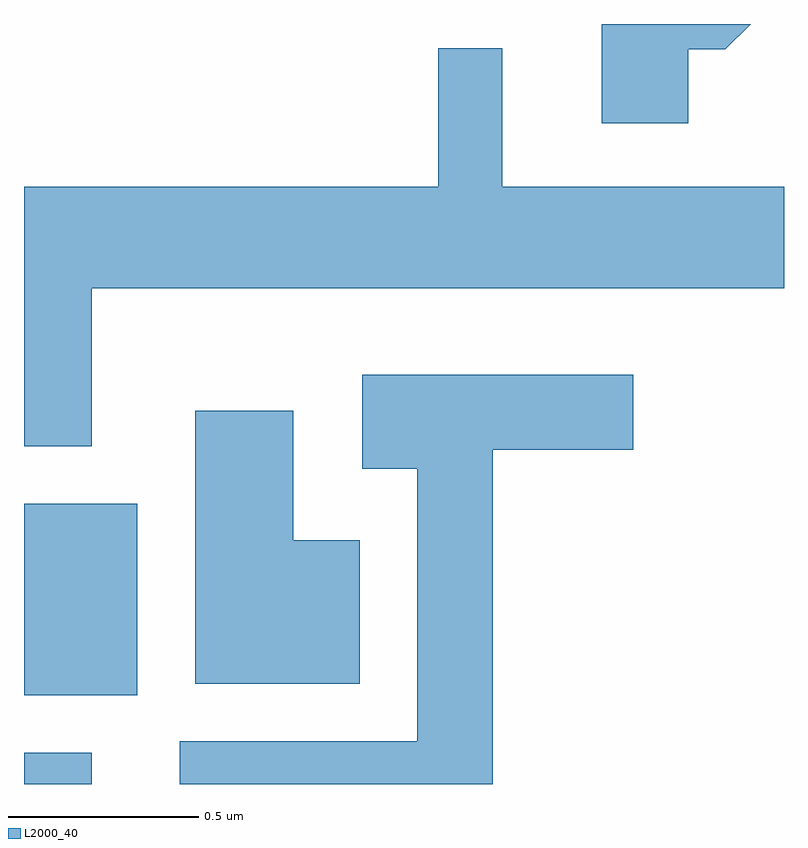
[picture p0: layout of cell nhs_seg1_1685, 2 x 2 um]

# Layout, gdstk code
import gdstk
lib = gdstk.Library(unit=1e-6, precision=1e-09)
def R(c, l, rs):  # rectangles x0, y0, x1, y1
    for r in rs: c.add(gdstk.rectangle(r[:2], r[2:], *l))
def P(c, l, *ps):  # polygons
    for p in ps: c.add(gdstk.Polygon(p, *l))
L2000_40 = (2000, 40)

nhs_seg1_1685 = lib.new_cell('nhs_seg1_1685')
R(nhs_seg1_1685, L2000_40, [(197.611,902.712,197.789,902.794), (197.611,902.946,197.909,903.449)])
P(nhs_seg1_1685, L2000_40, [(199.359,904.646),(199.457,904.646),(199.523,904.712),(199.131,904.712),(199.131,904.451),(199.359,904.451)],
  [(197.789,904.016),(199.611,904.016),(199.611,904.284),(198.869,904.284),(198.869,904.648),(198.701,904.648),(198.701,904.284),(197.611,904.284),(197.611,903.601),(197.789,903.601)],
  [(198.844,903.591),(199.214,903.591),(199.214,903.789),(198.501,903.789),(198.501,903.541),(198.646,903.541),(198.646,902.824),(198.021,902.824),(198.021,902.712),(198.844,902.712)],
  [(198.494,903.354),(198.319,903.354),(198.319,903.694),(198.061,903.694),(198.061,902.976),(198.494,902.976)])

lib.write_gds('nhs_seg1_1685.gds')
